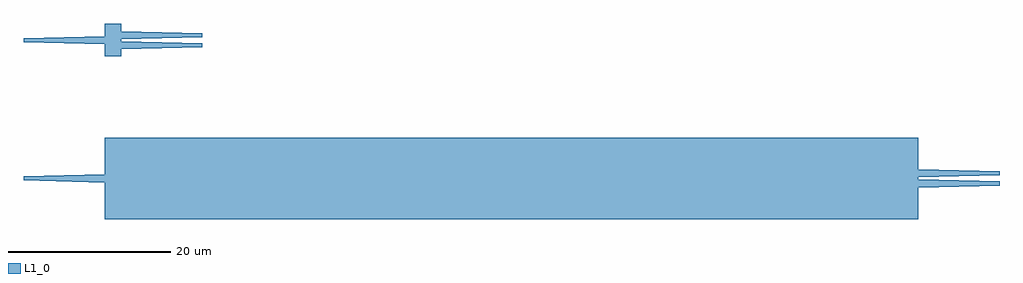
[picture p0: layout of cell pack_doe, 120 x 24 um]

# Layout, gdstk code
import gdstk
lib = gdstk.Library(unit=1e-6, precision=1e-09)
def R(c, l, rs):  # rectangles x0, y0, x1, y1
    for r in rs: c.add(gdstk.rectangle(r[:2], r[2:], *l))
def P(c, l, *ps):  # polygons
    for p in ps: c.add(gdstk.Polygon(p, *l))
L1_0 = (1, 0)

mmi1x2_bf444554 = lib.new_cell('mmi1x2_bf444554')
R(mmi1x2_bf444554, L1_0, [(-50,-5,50,5)])
P(mmi1x2_bf444554, L1_0, [(-60,0.25),(-50,0.5),(-50,-0.5),(-60,-0.25)],
  [(60,0.375),(50,0.125),(50,1.125),(60,0.875)],
  [(60,-0.875),(50,-1.125),(50,-0.125),(60,-0.375)])

mmi1x2_5329808d = lib.new_cell('mmi1x2_5329808d')
R(mmi1x2_5329808d, L1_0, [(-1,-2,1,2)])
P(mmi1x2_5329808d, L1_0, [(-11,0.25),(-1,0.5),(-1,-0.5),(-11,-0.25)],
  [(11,0.375),(1,0.125),(1,1.125),(11,0.875)],
  [(11,-0.875),(1,-1.125),(1,-0.125),(11,-0.375)])

pack_doe = lib.new_cell('pack_doe')
pack_doe.add(gdstk.Reference(mmi1x2_bf444554, (65.05,10.05)))
pack_doe.add(gdstk.Reference(mmi1x2_5329808d, (16.05,27.05)))

lib.write_gds('pack_doe.gds')
